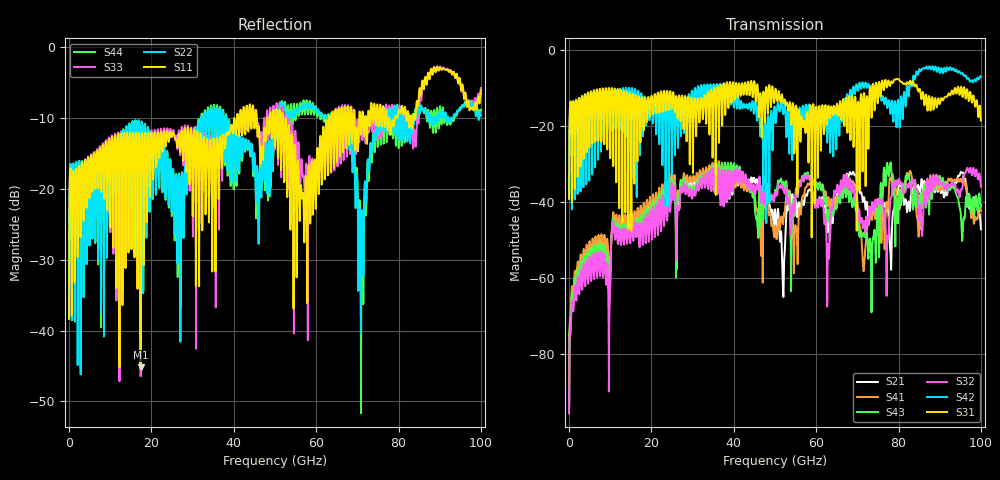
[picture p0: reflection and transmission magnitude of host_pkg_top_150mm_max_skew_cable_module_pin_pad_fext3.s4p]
# Hz S RI R 50
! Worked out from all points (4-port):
!   10000 points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, 10 MHz to 100 GHz, reference 50 ohm
!   strongest paths, dB at 10 MHz, 25.01 GHz, 50.01 GHz, 75.01 GHz, 100 GHz:
!     S31: -39.1, -14.5, -11.0, -12.9, -18.6
!     S42: -39.1, -23.6, -16.0, -11.7, -6.9
!     S32: -95.6, -35.5, -37.5, -39.9, -36.0
!     S43: -93.5, -34.5, -36.9, -40.6, -40.9
!     S41: -91.7, -32.9, -46.3, -44.9, -42.3
!     S21: -93.6, -34.0, -41.9, -40.5, -47.2
!   lowest |S11| = -45.2 dB at 17.36 GHz (marker M1), VSWR 1.01, Z = 49.8 - j0.514 ohm
!   |S11| at or under -10 dB: start of sweep to 40.1 GHz; 45.55 GHz to 48.1 GHz (2.551 GHz wide, 5.45 % of centre); 52.6 GHz to 63.13 GHz (10.52 GHz wide, 18.2 % of centre)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
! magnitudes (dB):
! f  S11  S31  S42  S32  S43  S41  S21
! 10 MHz  -38.3  -39.1  -39.1  -95.6  -93.5  -91.7  -93.6
! 17.36 GHz  -45.2  -23.4  -13.1  -45.7  -43.5  -41.0  -42.9
! 52.04 GHz  -11.7  -13.8  -16.9  -36.8  -34.9  -45.0  -64.9
! 64.84 GHz  -10.3  -16.3  -25.5  -37.6  -41.7  -41.5  -39.5
! 71.14 GHz  -9.7  -16.8  -8.8  -44.7  -48.5  -52.2  -38.4
! 78.3 GHz  -11.0  -8.3  -13.8  -38.4  -32.5  -33.7  -52.2
! 100 GHz  -6.1  -18.6  -6.9  -36.0  -40.9  -42.3  -47.2
